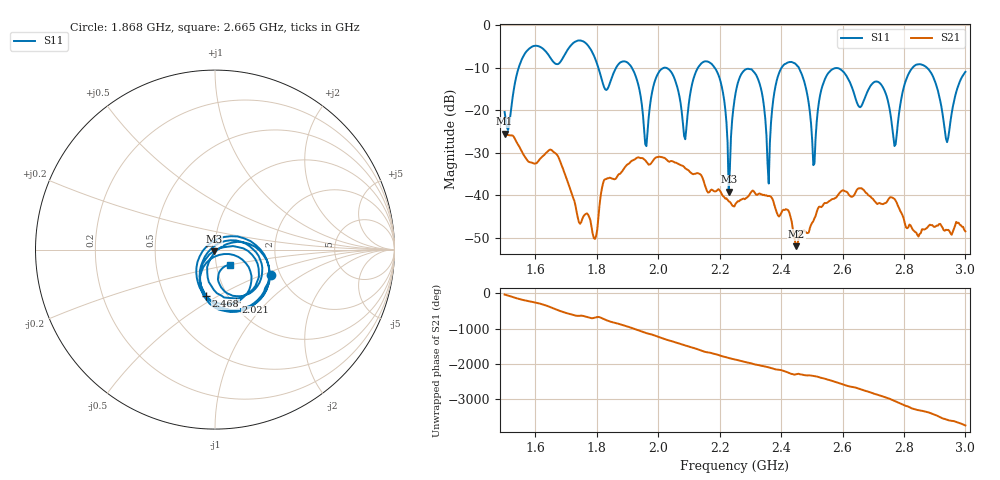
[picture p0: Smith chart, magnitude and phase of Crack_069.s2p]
# HZ S RI R 50
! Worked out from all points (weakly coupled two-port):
!   404 points, 1.5 GHz to 3 GHz, reference 50 ohm
!   highest |S21| = -25.55 dB at 1.5 GHz (marker M1); lowest = -52.0 dB at 2.449 GHz (marker M2)
!   lowest |S11| = -39.2 dB at 2.23 GHz (marker M3), VSWR 1.02, Z = 49.3 - j0.838 ohm
!   |S11| at or under -10 dB: 2.184 GHz to 2.402 GHz (218 MHz wide, 9.51 % of centre); 2.458 GHz to 2.828 GHz (370.4 MHz wide, 14 % of centre); 2.875 GHz to end of sweep (the widest 3 of 7)
!   S12 and S22 are empty: the file has one direction only
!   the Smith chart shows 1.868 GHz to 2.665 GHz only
!   S11 on the Smith chart (normalised r, x): 1.868 GHz: 1.78, -0.57; 2.021 GHz: 1.04, -0.68; 2.468 GHz: 0.79, -0.44; 2.665 GHz: 1.16, -0.20
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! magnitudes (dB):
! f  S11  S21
! 1.5 GHz  -20.4  -25.6
! 1.753 GHz  -3.7  -45.6
! 1.868 GHz  -9.4  -35.4
! 1.962 GHz  -28.5  -32.2
! 2.002 GHz  -11.0  -31.0
! 2.021 GHz  -10.0  -31.2
! 2.088 GHz  -26.9  -33.7
! 2.181 GHz  -9.8  -39.1
! 2.23 GHz  -39.2  -41.5
! 2.252 GHz  -16.0  -42.1
! 2.315 GHz  -11.3  -39.5
! 2.36 GHz  -37.3  -40.2
! 2.39 GHz  -12.1  -44.8
! 2.449 GHz  -9.3  -52.0
! 2.468 GHz  -11.6  -48.6
! 2.501 GHz  -27.1  -46.5
! 2.565 GHz  -10.5  -41.0
! 2.665 GHz  -18.5  -38.6
! 2.751 GHz  -18.8  -40.9
! 2.862 GHz  -9.4  -48.0
! 2.94 GHz  -27.5  -48.2
! 3 GHz  -11.0  -48.5
